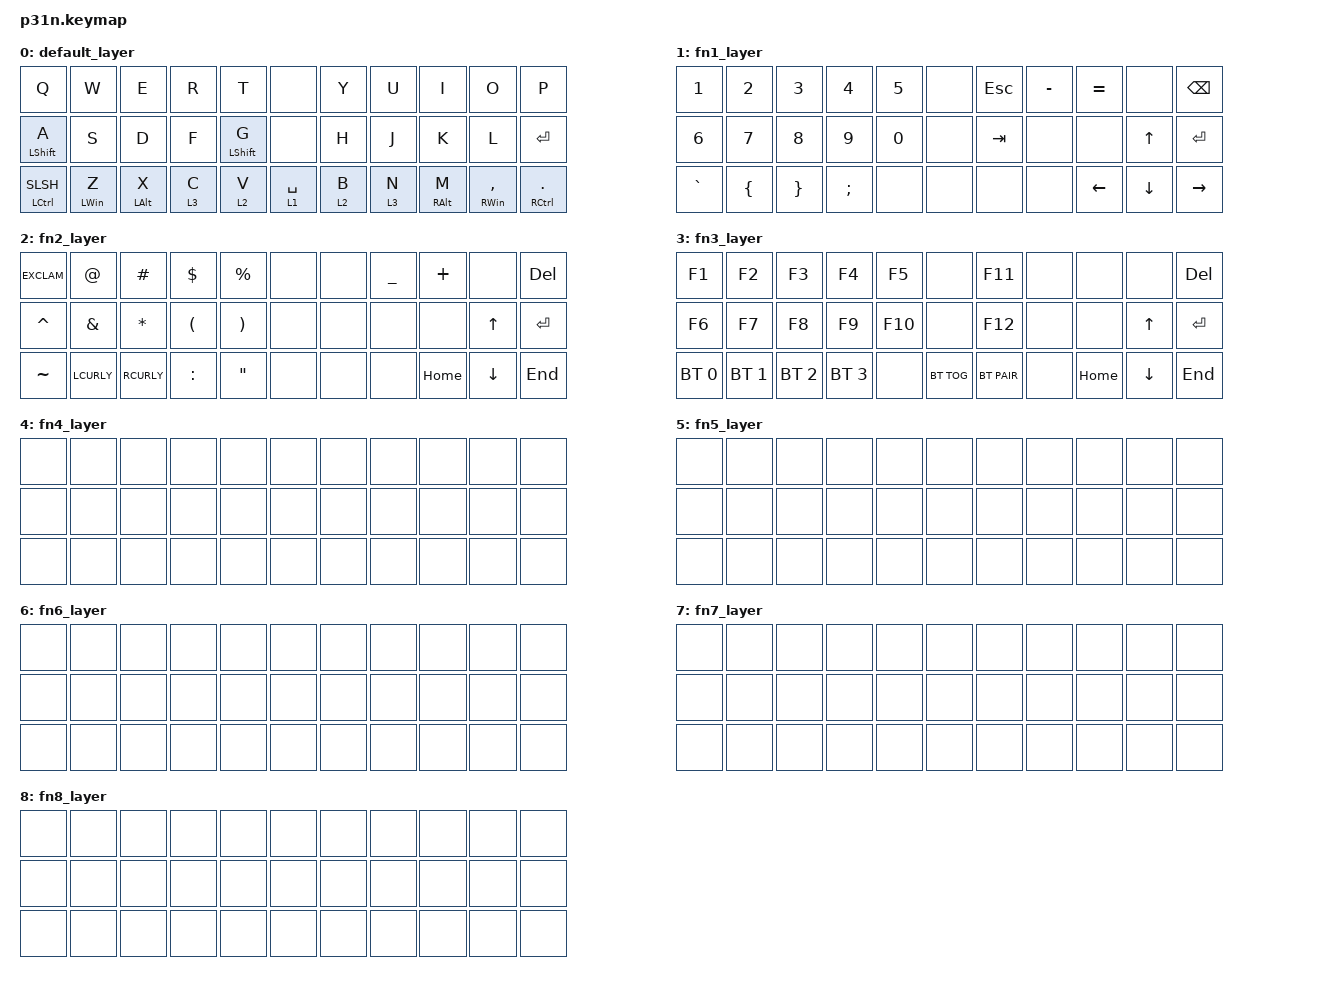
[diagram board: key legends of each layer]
/*
 * Copyright (c) 2020 The ZMK Contributors
 *
 * SPDX-License-Identifier: MIT
 */

#include <behaviors.dtsi>
#include <dt-bindings/zmk/keys.h>
#include <dt-bindings/zmk/rgb.h>
#include <dt-bindings/zmk/bt.h>
#include <dt-bindings/zmk/outputs.h>
#include <dt-bindings/zmk/ext_power.h>
#include <dt-bindings/zmk/mouse.h>

/ {
      macros {
        xtips: xtips {
            compatible = "zmk,behavior-macro";
            label = "XTIPS";
            #binding-cells = <0>;
            bindings = <&kp LS(X) &kp KP_DOT &kp LS(T) &kp I &kp P &kp S>;
            wait-ms = <1>;
            tap-ms = <1>;
        };
      };

	  // 新增：自定义 hold-tap 行为（设置长按识别时间）
      behaviors {
        // 定义一个用于 mod-tap 的行为（如 Shift、Ctrl 等修饰键）
        my_mod_tap: my_mod_tap {
          compatible = "zmk,behavior-hold-tap";
          label = "MY_MOD_TAP";
          #binding-cells = <2>;  // 固定参数（短按行为 、长按行为）
          hold-time = <120>;     // 长按识别时间（单位：ms，可修改为 150-300 等）
        };

        // 定义一个用于 layer-tap 的行为（切换层）
        my_layer_tap: my_layer_tap {
          compatible = "zmk,behavior-hold-tap";
          label = "MY_LAYER_TAP";
          #binding-cells = <2>;  // 固定参数（短按行为、长按行为）
          hold-time = <120>;     // 层切换的长按识别时间（可与上面不同）
        };
      };

	keymap0: keymap {
		compatible = "zmk,keymap";

		default_layer {
			//字母层
            // |   Q   |   W   |   E   |   R   |   T   |    ----   |   Y   |   U   |   I    |   O    |   P   |
            // |   A   |   S   |   D   |   F   |   G   |    ----   |   H   |   J   |   K    |   L    |  Ent  |
            // | LG,Z  |  LA,X | LC,C  | LS,V  | LT1,B | LT3,SPACE | LT2,N | RS,M  | RS,TAb | RA,ESC | RG,BS | 
            bindings = <
            &kp Q          &kp W          &kp E          &kp R          &kp T          &none          &kp Y          &kp U          &kp I          &kp O          &kp P
			&mt LSHFT A    &kp S          &kp D          &kp F          &mt LSHFT G    &none          &kp H          &kp J          &kp K          &kp L          &kp ENTER
			&mt LCTRL SLSH &mt LWIN Z     &mt LALT X     &lt 3 C        &lt 2 V        &lt 1 SPACE    &lt 2 B        &lt 3 N        &mt RALT M     &mt RWIN COMMA &mt RCTRL DOT
            >;
		};
		
		fn1_layer {
			//数字层
            bindings = <
            &kp N1         &kp N2         &kp N3         &kp N4         &kp N5         &none          &kp ESC        &kp MINUS      &kp EQUAL      &none          &kp BSPC
			&kp N6         &kp N7         &kp N8         &kp N9         &kp N0         &none          &kp TAB        &none          &none          &kp UP         &kp ENTER
			&kp GRAVE      &kp LBRC       &kp RBRC       &kp SEMI       &none          &none          &none          &none          &kp LEFT       &kp DOWN       &kp RIGHT
             >;
		};

		fn2_layer {
			//符号层
            bindings = <
			&kp EXCLAM     &kp AT         &kp HASH       &kp DOLLAR     &kp PERCENT    &none          &none          &kp UNDER      &kp PLUS       &none          &kp DEL
			&kp CARET      &kp AMPERSAND  &kp ASTERISK   &kp LPAR       &kp RPAR       &none          &none          &none          &none          &kp UP         &kp ENTER
			&kp TILDE      &kp LCURLY     &kp RCURLY     &kp COLON      &kp DQT        &none          &none          &none          &kp HOME       &kp DOWN       &kp END
            >;
		};

		fn3_layer {
			//功能层
            bindings = <
			&kp F1             &kp F2          &kp F3         &kp F4         &kp F5         &none               &kp F11        &none          &none          &none          &kp DEL
			&kp F6             &kp F7          &kp F8         &kp F9         &kp F10        &none               &kp F12        &none          &none          &kp UP         &kp ENTER
			&bt BT_SEL 0       &bt BT_SEL 1    &bt BT_SEL 2   &bt BT_SEL 3   &none          &bt BT_TOG          &bt BT_PAIR    &none          &kp HOME       &kp DOWN       &kp END
   			// 切换到备1       切换到设备2                                                   蓝牙开关             配对模式
            >;
		};
		
		fn4_layer {
            bindings = <
            &none   &none   &none   &none    &none   &none   &none   &none   &none   &none   &none  
            &none   &none   &none   &none    &none   &none   &none   &none   &none   &none   &none  
            &none   &none   &none   &none    &none   &none   &none   &none   &none   &none   &none                  
            >;
		};

		fn5_layer {
            bindings = <
            &none   &none   &none   &none    &none   &none   &none   &none   &none   &none   &none  
            &none   &none   &none   &none    &none   &none   &none   &none   &none   &none   &none  
            &none   &none   &none   &none    &none   &none   &none   &none   &none   &none   &none      
            >;
		};
		
		fn6_layer {
            bindings = <
            &none   &none   &none   &none    &none   &none   &none   &none   &none   &none   &none  
            &none   &none   &none   &none    &none   &none   &none   &none   &none   &none   &none  
            &none   &none   &none   &none    &none   &none   &none   &none   &none   &none   &none      
            >;
		};
		
		fn7_layer {
            bindings = <
            &none   &none   &none   &none    &none   &none   &none   &none   &none   &none   &none  
            &none   &none   &none   &none    &none   &none   &none   &none   &none   &none   &none  
            &none   &none   &none   &none    &none   &none   &none   &none   &none   &none   &none      
            >;
		};
		
		fn8_layer {
            bindings = <
            &none   &none   &none   &none    &none   &none   &none   &none   &none   &none   &none  
            &none   &none   &none   &none    &none   &none   &none   &none   &none   &none   &none  
            &none   &none   &none   &none    &none   &none   &none   &none   &none   &none   &none      
            >;
		};
	};
};
